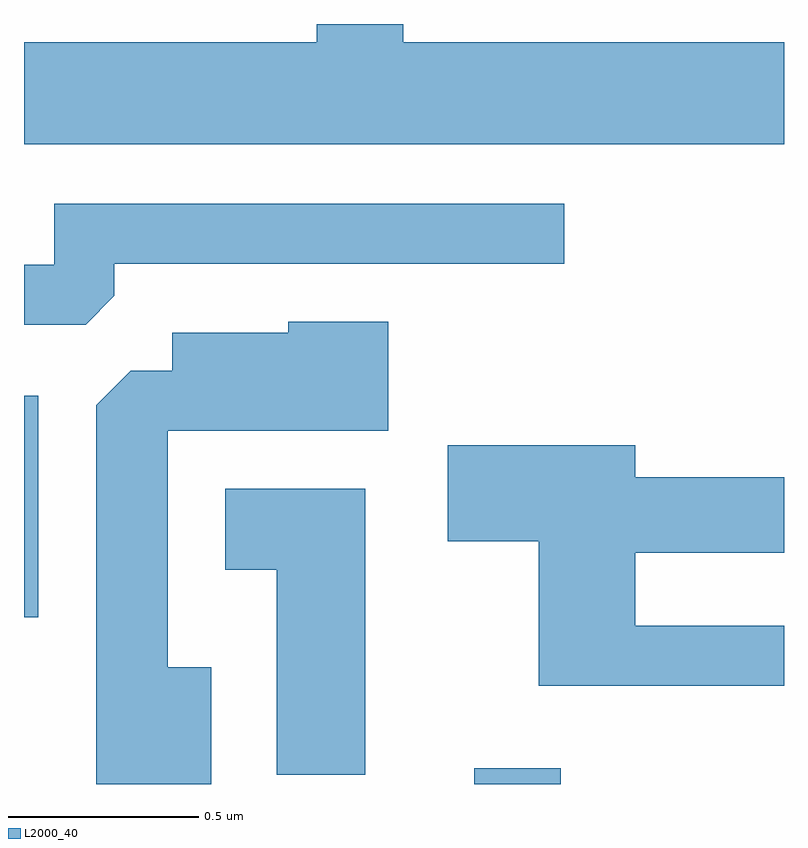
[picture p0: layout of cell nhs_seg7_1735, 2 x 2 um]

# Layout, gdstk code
import gdstk
lib = gdstk.Library(unit=1e-6, precision=1e-09)
def R(c, l, rs):  # rectangles x0, y0, x1, y1
    for r in rs: c.add(gdstk.rectangle(r[:2], r[2:], *l))
def P(c, l, *ps):  # polygons
    for p in ps: c.add(gdstk.Polygon(p, *l))
L2000_40 = (2000, 40)

nhs_seg7_1735 = lib.new_cell('nhs_seg7_1735')
R(nhs_seg7_1735, L2000_40, [(198.796,1759.252,199.024,1759.294), (197.611,1759.691,197.649,1760.274)])
P(nhs_seg7_1735, L2000_40, [(199.611,1761.204),(198.609,1761.204),(198.609,1761.252),(198.381,1761.252),(198.381,1761.204),(197.611,1761.204),(197.611,1760.936),(199.611,1760.936)],
  [(197.849,1760.537),(197.849,1760.621),(199.033,1760.621),(199.033,1760.779),(197.691,1760.779),(197.691,1760.619),(197.611,1760.619),(197.611,1760.461),(197.774,1760.461)],
  [(198.104,1759.559),(197.989,1759.559),(197.989,1760.181),(198.569,1760.181),(198.569,1760.469),(198.306,1760.469),(198.306,1760.439),(198.001,1760.439),(198.001,1760.339),(197.892,1760.339),(197.801,1760.249),(197.801,1759.252),(198.104,1759.252)],
  [(199.611,1759.669),(199.219,1759.669),(199.219,1759.861),(199.611,1759.861),(199.611,1760.059),(199.219,1760.059),(199.219,1760.144),(198.726,1760.144),(198.726,1759.891),(198.966,1759.891),(198.966,1759.511),(199.611,1759.511)],
  [(198.509,1760.029),(198.141,1760.029),(198.141,1759.816),(198.276,1759.816),(198.276,1759.276),(198.509,1759.276)])

lib.write_gds('nhs_seg7_1735.gds')
